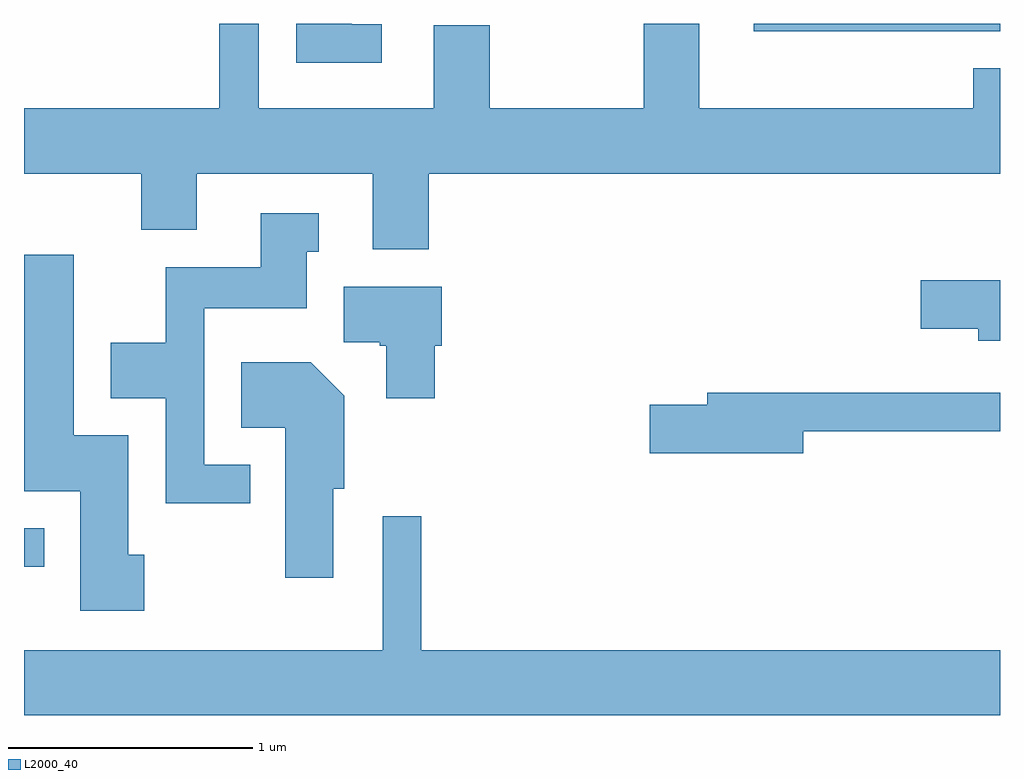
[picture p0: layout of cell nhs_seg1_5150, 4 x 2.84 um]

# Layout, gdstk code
import gdstk
lib = gdstk.Library(unit=1e-6, precision=1e-09)
def R(c, l, rs):  # rectangles x0, y0, x1, y1
    for r in rs: c.add(gdstk.rectangle(r[:2], r[2:], *l))
def P(c, l, *ps):  # polygons
    for p in ps: c.add(gdstk.Polygon(p, *l))
L2000_40 = (2000, 40)

nhs_seg1_5150 = lib.new_cell('nhs_seg1_5150')
R(nhs_seg1_5150, L2000_40, [(339.611,933.486,339.693,933.644), (342.601,935.681,343.611,935.712)])
P(nhs_seg1_5150, L2000_40, [(343.611,935.529),(343.501,935.529),(343.501,935.364),(342.379,935.364),(342.379,935.712),(342.151,935.712),(342.151,935.364),(341.519,935.364),(341.519,935.704),(341.291,935.704),(341.291,935.364),(340.574,935.364),(340.574,935.712),(340.411,935.712),(340.411,935.364),(339.611,935.364),(339.611,935.096),(340.091,935.096),(340.091,934.866),(340.319,934.866),(340.319,935.096),(341.041,935.096),(341.041,934.786),(341.269,934.786),(341.269,935.096),(343.611,935.096)],
  [(341.078,935.709),(340.954,935.709),(340.954,935.712),(340.726,935.712),(340.726,935.551),(341.078,935.551)],
  [(340.538,933.904),(340.349,933.904),(340.349,934.546),(340.769,934.546),(340.769,934.776),(340.818,934.776),(340.818,934.934),(340.581,934.934),(340.581,934.714),(340.191,934.714),(340.191,934.404),(339.966,934.404),(339.966,934.176),(340.191,934.176),(340.191,933.746),(340.538,933.746)],
  [(340.104,933.534),(340.039,933.534),(340.039,934.024),(339.814,934.024),(339.814,934.764),(339.611,934.764),(339.611,933.796),(339.841,933.796),(339.841,933.306),(340.104,933.306)],
  [(343.611,934.659),(343.286,934.659),(343.286,934.461),(343.521,934.461),(343.521,934.411),(343.611,934.411)],
  [(341.294,934.391),(341.324,934.391),(341.324,934.634),(340.921,934.634),(340.921,934.406),(341.07,934.406),(341.07,934.391),(341.096,934.391),(341.096,934.176),(341.294,934.176)],
  [(340.879,933.806),(340.924,933.806),(340.924,934.187),(340.787,934.324),(340.501,934.324),(340.501,934.056),(340.681,934.056),(340.681,933.441),(340.879,933.441)],
  [(342.804,934.041),(343.611,934.041),(343.611,934.199),(342.411,934.199),(342.411,934.149),(342.176,934.149),(342.176,933.951),(342.804,933.951)],
  [(343.611,933.144),(341.239,933.144),(341.239,933.693),(341.081,933.693),(341.081,933.144),(339.611,933.144),(339.611,932.876),(343.611,932.876)])

lib.write_gds('nhs_seg1_5150.gds')
